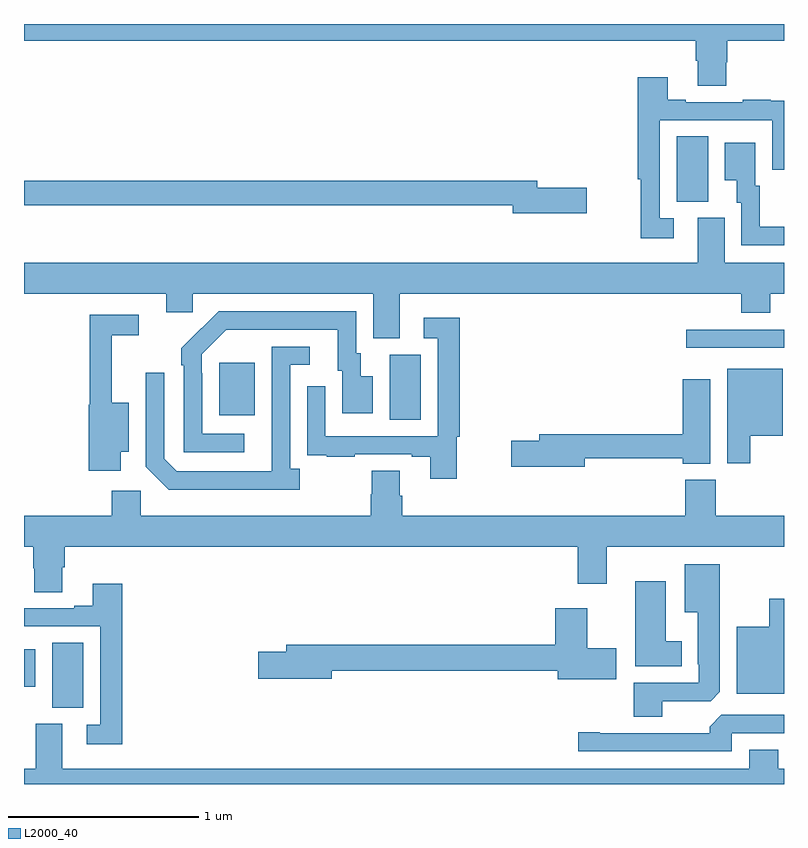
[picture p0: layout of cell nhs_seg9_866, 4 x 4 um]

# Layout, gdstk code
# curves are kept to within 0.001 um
import gdstk
lib = gdstk.Library(unit=1e-6, precision=1e-09)
def R(c, l, rs):  # rectangles x0, y0, x1, y1
    for r in rs: c.add(gdstk.rectangle(r[:2], r[2:], *l))
def P(c, l, *ps):  # polygons
    for p in ps: c.add(gdstk.Polygon(p, *l))
L2000_40 = (2000, 40)

nhs_seg9_866 = lib.new_cell('nhs_seg9_866')
R(nhs_seg9_866, L2000_40, [(157.148,1200.901,157.312,1201.244), (157,1201.013,157.06,1201.21), (158.924,1202.416,159.088,1202.76), (158.027,1202.441,158.215,1202.716), (160.485,1202.796,161,1202.892), (160.436,1203.565,160.6,1203.908)])
P(nhs_seg9_866, L2000_40, [(160.695,1204.299),(160.7,1204.299),(160.7,1204.412),(161,1204.412),(161,1204.5),(157,1204.5),(157,1204.412),(160.535,1204.412),(160.535,1204.306),(160.547,1204.306),(160.547,1204.174),(160.695,1204.174)],
  [(160.42,1203.477),(160.347,1203.477),(160.347,1203.993),(160.938,1203.993),(160.938,1203.732),(161,1203.732),(161,1204.095),(160.931,1204.095),(160.931,1204.102),(160.783,1204.102),(160.783,1204.089),(160.483,1204.089),(160.483,1204.102),(160.387,1204.102),(160.387,1204.219),(160.231,1204.219),(160.231,1203.684),(160.246,1203.684),(160.246,1203.372),(160.42,1203.372)],
  [(161,1203.432),(160.873,1203.432),(160.873,1203.648),(160.849,1203.648),(160.849,1203.874),(160.688,1203.874),(160.688,1203.677),(160.751,1203.677),(160.751,1203.558),(160.776,1203.558),(160.776,1203.336),(161,1203.336)],
  [(159.961,1203.638),(159.7,1203.638),(159.7,1203.674),(157,1203.674),(157,1203.546),(159.572,1203.546),(159.572,1203.503),(159.961,1203.503)],
  [(158.977,1203.08),(160.775,1203.08),(160.775,1202.981),(160.927,1202.981),(160.927,1203.08),(161,1203.08),(161,1203.244),(160.687,1203.244),(160.687,1203.48),(160.547,1203.48),(160.547,1203.244),(157,1203.244),(157,1203.08),(157.748,1203.08),(157.748,1202.982),(157.887,1202.982),(157.887,1203.08),(158.837,1203.08),(158.837,1202.845),(158.977,1202.845)],
  [(158.158,1202.343),(157.938,1202.343),(157.938,1202.663),(157.935,1202.663),(157.935,1202.763),(158.064,1202.892),(158.651,1202.892),(158.651,1202.676),(158.675,1202.676),(158.675,1202.451),(158.836,1202.451),(158.836,1202.647),(158.773,1202.647),(158.773,1202.766),(158.748,1202.766),(158.748,1202.988),(158.024,1202.988),(157.827,1202.793),(157.827,1202.705),(157.842,1202.705),(157.842,1202.247),(158.158,1202.247)],
  [(157.51,1202.249),(157.552,1202.249),(157.552,1202.506),(157.463,1202.506),(157.463,1202.862),(157.603,1202.862),(157.603,1202.97),(157.345,1202.97),(157.345,1202.496),(157.34,1202.496),(157.34,1202.148),(157.51,1202.148)],
  [(159.278,1202.328),(159.293,1202.328),(159.293,1202.953),(159.105,1202.953),(159.105,1202.847),(159.177,1202.847),(159.177,1202.331),(158.586,1202.331),(158.586,1202.593),(158.49,1202.593),(158.49,1202.338),(158.491,1202.338),(158.491,1202.229),(158.593,1202.229),(158.593,1202.223),(158.741,1202.223),(158.741,1202.235),(159.041,1202.235),(159.041,1202.223),(159.137,1202.223),(159.137,1202.106),(159.278,1202.106)],
  [(158.452,1202.158),(158.4,1202.158),(158.4,1202.706),(158.503,1202.706),(158.503,1202.802),(158.304,1202.802),(158.303,1202.145),(157.803,1202.145),(157.737,1202.211),(157.737,1202.665),(157.641,1202.665),(157.641,1202.169),(157.762,1202.048),(158.452,1202.048)],
  [(160.822,1202.333),(160.993,1202.333),(160.993,1202.686),(160.7,1202.686),(160.7,1202.187),(160.822,1202.187)],
  [(159.952,1202.214),(160.466,1202.214),(160.466,1202.186),(160.612,1202.186),(160.612,1202.629),(160.466,1202.629),(160.466,1202.342),(159.713,1202.342),(159.713,1202.306),(159.564,1202.306),(159.564,1202.171),(159.952,1202.171)],
  [(158.99,1202.018),(158.977,1202.018),(158.977,1202.15),(158.83,1202.15),(158.83,1202.025),(158.825,1202.025),(158.825,1201.912),(157.614,1201.912),(157.614,1202.044),(157.463,1202.044),(157.463,1201.912),(157,1201.912),(157,1201.748),(157.049,1201.748),(157.049,1201.635),(157.054,1201.635),(157.054,1201.51),(157.201,1201.51),(157.201,1201.642),(157.214,1201.642),(157.214,1201.748),(159.914,1201.748),(159.914,1201.554),(160.066,1201.554),(160.066,1201.748),(161,1201.748),(161,1201.912),(160.641,1201.912),(160.641,1202.101),(160.481,1202.101),(160.481,1201.912),(158.99,1201.912)],
  [(160.36,1200.936),(160.614,1200.936),(160.663,1200.985),(160.663,1201.657),(160.478,1201.657),(160.478,1201.403),(160.547,1201.403),(160.547,1201.129),(160.551,1201.129),(160.551,1201.032),(160.208,1201.032),(160.208,1200.853),(160.36,1200.853)],
  [(160.462,1201.252),(160.378,1201.252),(160.378,1201.567),(160.217,1201.567),(160.217,1201.121),(160.462,1201.121)],
  [(157.517,1201.555),(157.361,1201.555),(157.361,1201.438),(157.265,1201.438),(157.265,1201.425),(157,1201.425),(157,1201.329),(157.401,1201.329),(157.401,1200.813),(157.329,1200.813),(157.329,1200.708),(157.517,1200.708)],
  [(161,1201.474),(160.922,1201.474),(160.922,1201.327),(160.751,1201.327),(160.751,1200.974),(161,1200.974)],
  [(160.117,1201.215),(159.964,1201.215),(159.964,1201.426),(159.797,1201.426),(159.797,1201.232),(158.381,1201.232),(158.381,1201.196),(158.232,1201.196),(158.232,1201.054),(158.62,1201.054),(158.62,1201.096),(159.809,1201.096),(159.809,1201.052),(160.117,1201.052)],
  [(160.725,1200.768),(161,1200.768),(161,1200.864),(160.671,1200.864),(160.61,1200.802),(160.61,1200.768),(160.03,1200.768),(160.03,1200.773),(159.918,1200.773),(159.918,1200.672),(160.725,1200.672)],
  [(161,1200.58),(160.97,1200.58),(160.97,1200.679),(160.817,1200.679),(160.817,1200.58),(157.201,1200.58),(157.201,1200.816),(157.061,1200.816),(157.061,1200.58),(157,1200.58),(157,1200.5),(161,1200.5)])

lib.write_gds('nhs_seg9_866.gds')
